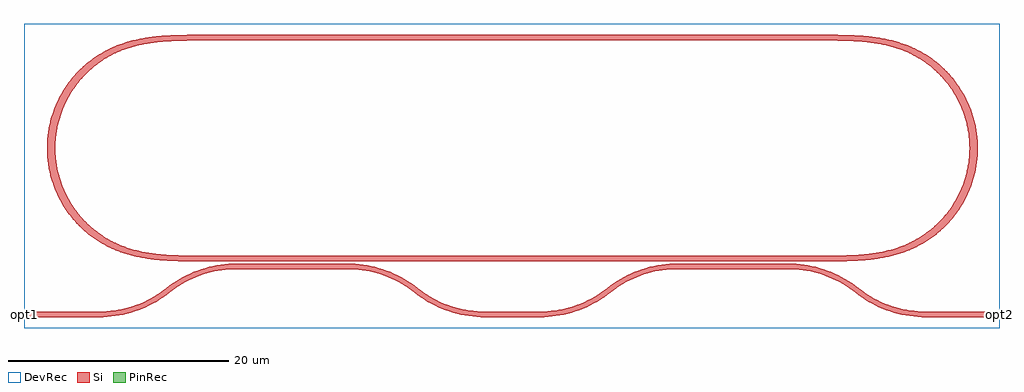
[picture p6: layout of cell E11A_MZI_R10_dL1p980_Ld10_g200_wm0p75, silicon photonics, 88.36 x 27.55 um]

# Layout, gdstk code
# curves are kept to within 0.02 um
import gdstk
lib = gdstk.Library(unit=1e-6, precision=1e-09)
def R(c, l, rs):  # rectangles x0, y0, x1, y1
    for r in rs: c.add(gdstk.rectangle(r[:2], r[2:], *l))
def P(c, l, *ps):  # polygons
    for p in ps: c.add(gdstk.Polygon(p, *l))
Si = (1, 0)
PinRec = (1, 10)
DevRec = (68, 0)

c__e11aring_r10p000_lc53p9 = lib.new_cell('_E11Aring_R10p000_Lc53p910_w0p500_wm0p750_tp30')
R(c__e11aring_r10p000_lc53p9, Si, [(-26.955,-10.25,26.955,-9.75), (-26.955,9.75,26.955,10.25)])
P(c__e11aring_r10p000_lc53p9, Si, [(-28.116,-10.25),(-31.1,-10.193),(-32.258,-10.105),(-33.245,-9.976),(-34.221,-9.783),(-35.021,-9.565),(-35.803,-9.289),(-36.561,-8.954),(-37.424,-8.475),(-38.094,-8.02),(-38.845,-7.404),(-39.534,-6.719),(-40.152,-5.969),(-40.695,-5.163),(-41.086,-4.454),(-41.477,-3.564),(-41.779,-2.641),(-41.99,-1.693),(-42.108,-0.728),(-42.132,0.243),(-42.061,1.212),(-41.896,2.17),(-41.639,3.107),(-41.292,4.014),(-40.858,4.884),(-40.342,5.707),(-39.748,6.476),(-39.082,7.184),(-38.351,7.823),(-37.561,8.388),(-36.709,8.88),(-35.803,9.29),(-34.862,9.613),(-33.734,9.888),(-32.423,10.088),(-31.1,10.193),(-29.609,10.24),(-26.955,10.25),(-26.955,9.75),(-29.474,9.741),(-31.204,9.678),(-32.769,9.515),(-34.004,9.271),(-34.761,9.054),(-35.353,8.841),(-35.931,8.591),(-36.492,8.304),(-37.532,7.636),(-38.475,6.84),(-38.905,6.398),(-39.401,5.807),(-39.848,5.179),(-40.168,4.651),(-40.518,3.964),(-40.757,3.395),(-41.003,2.664),(-41.19,1.916),(-41.294,1.308),(-41.37,0.54),(-41.385,-0.077),(-41.347,-0.847),(-41.272,-1.46),(-41.122,-2.216),(-40.959,-2.811),(-40.701,-3.538),(-40.384,-4.242),(-39.931,-5.048),(-39.495,-5.684),(-38.905,-6.398),(-38.363,-6.946),(-37.655,-7.543),(-37.024,-7.986),(-36.353,-8.379),(-35.499,-8.781),(-34.611,-9.101),(-33.544,-9.376),(-32.613,-9.537),(-31.518,-9.655),(-30.418,-9.717),(-26.955,-9.75),(-26.955,-10.25)],
  [(26.955,-10.25),(26.955,-9.75),(29.631,-9.738),(31.204,-9.678),(32.613,-9.537),(33.851,-9.307),(34.761,-9.053),(35.644,-8.72),(36.492,-8.304),(37.281,-7.815),(38.133,-7.152),(38.905,-6.398),(39.586,-5.56),(40.242,-4.515),(40.701,-3.538),(41.085,-2.366),(41.294,-1.307),(41.36,-0.694),(41.385,-0.077),(41.332,1.001),(41.157,2.066),(40.863,3.105),(40.384,4.242),(39.848,5.179),(39.495,5.685),(39.109,6.167),(38.363,6.946),(37.898,7.352),(37.407,7.726),(36.629,8.227),(35.788,8.657),(34.91,9.004),(33.851,9.308),(32.457,9.559),(31.204,9.678),(29.474,9.741),(26.955,9.75),(26.955,10.25),(30.769,10.209),(32.093,10.122),(32.917,10.026),(34.059,9.82),(35.021,9.565),(35.803,9.29),(36.709,8.88),(37.561,8.388),(38.351,7.823),(39.082,7.184),(39.748,6.476),(40.342,5.707),(40.858,4.884),(41.292,4.014),(41.639,3.107),(41.896,2.17),(42.061,1.212),(42.132,0.243),(42.108,-0.728),(41.99,-1.693),(41.779,-2.641),(41.477,-3.564),(41.086,-4.454),(40.61,-5.301),(40.152,-5.969),(39.534,-6.719),(38.965,-7.295),(38.351,-7.823),(37.561,-8.388),(36.709,-8.879),(35.956,-9.227),(35.021,-9.565),(34.221,-9.783),(33.245,-9.976),(32.423,-10.087),(31.266,-10.184),(30.272,-10.226)])

e11a_mzi_r10_dl1p980_ld1 = lib.new_cell('E11A_MZI_R10_dL1p980_Ld10_g200_wm0p75')
R(e11a_mzi_r10_dl1p980_ld1, Si, [(-1,-0.25,0,0.25), (0,-0.25,5.8,0.25), (40.71,-0.25,45.71,0.25), (80.619,-0.25,86.345,0.25), (86.345,-0.25,87.345,0.25), (18.255,4.101,28.255,4.601), (58.164,4.101,68.164,4.601)])
P(e11a_mzi_r10_dl1p980_ld1, Si, [(52.093,1.98),(51.781,2.371),(52.364,2.803),(52.976,3.191),(53.614,3.536),(54.275,3.835),(55.302,4.194),(56.005,4.371),(57.079,4.544),(58.164,4.601),(58.164,4.101),(57.131,4.047),(56.449,3.949),(55.774,3.804),(54.786,3.498),(54.148,3.236),(53.53,2.93),(52.647,2.39)],
  [(74.236,1.98),(73.682,2.39),(72.799,2.93),(72.181,3.236),(71.543,3.498),(70.555,3.804),(69.88,3.949),(69.197,4.047),(68.164,4.101),(68.164,4.601),(69.25,4.544),(70.324,4.371),(71.027,4.194),(72.054,3.835),(72.715,3.536),(73.353,3.191),(73.965,2.803),(74.548,2.371)],
  [(45.71,-0.25),(45.71,0.25),(46.399,0.274),(47.085,0.347),(47.764,0.469),(48.762,0.74),(49.409,0.979),(50.344,1.422),(51.227,1.961),(51.781,2.371),(52.093,1.98),(51.51,1.549),(50.582,0.982),(49.932,0.66),(48.919,0.265),(47.869,-0.02),(47.155,-0.148),(46.434,-0.224)],
  [(40.71,-0.25),(39.985,-0.224),(39.264,-0.148),(38.55,-0.02),(37.501,0.265),(36.487,0.66),(35.838,0.982),(35.212,1.349),(34.327,1.98),(34.638,2.371),(35.192,1.961),(36.075,1.422),(37.01,0.979),(37.657,0.74),(38.655,0.469),(39.334,0.347),(40.02,0.274),(40.71,0.25)],
  [(34.327,1.98),(33.772,2.39),(32.889,2.93),(32.271,3.236),(31.633,3.498),(30.645,3.804),(29.971,3.949),(29.288,4.047),(28.255,4.101),(28.255,4.601),(29.341,4.544),(30.059,4.441),(31.117,4.194),(32.144,3.835),(32.805,3.536),(33.443,3.191),(34.055,2.803),(34.638,2.371)],
  [(12.183,1.98),(11.872,2.371),(12.455,2.803),(13.067,3.191),(13.705,3.536),(14.366,3.835),(15.392,4.194),(16.095,4.371),(17.169,4.544),(18.255,4.601),(18.255,4.101),(17.222,4.047),(16.539,3.949),(15.865,3.804),(14.877,3.498),(14.238,3.236),(13.62,2.93),(13.025,2.58)],
  [(80.619,-0.25),(79.895,-0.224),(79.173,-0.148),(78.46,-0.02),(77.41,0.265),(76.397,0.66),(75.747,0.982),(74.819,1.549),(74.236,1.98),(74.548,2.371),(75.102,1.961),(75.985,1.422),(76.92,0.979),(77.567,0.74),(78.565,0.469),(79.244,0.347),(79.93,0.274),(80.619,0.25)],
  [(5.8,-0.25),(5.8,0.25),(6.489,0.274),(7.175,0.347),(7.854,0.469),(8.852,0.74),(9.5,0.979),(10.434,1.422),(11.317,1.961),(11.872,2.371),(12.183,1.98),(11.298,1.349),(10.672,0.982),(10.022,0.66),(9.009,0.265),(7.96,-0.02),(7.246,-0.148),(6.525,-0.224)])
R(e11a_mzi_r10_dl1p980_ld1, DevRec, [(-1,-1.25,87.345,26.301)])
e11a_mzi_r10_dl1p980_ld1.add(gdstk.FlexPath([(87.335,0),(87.355,0)], 0.5, ends="flush", simple_path=True, layer=1, datatype=10))  # PinRec
e11a_mzi_r10_dl1p980_ld1.add(gdstk.FlexPath([(-0.99,0),(-1.01,0)], 0.5, ends="flush", simple_path=True, layer=1, datatype=10))  # PinRec
e11a_mzi_r10_dl1p980_ld1.add(gdstk.Reference(c__e11aring_r10p000_lc53p9, (43.21,15.051)))
e11a_mzi_r10_dl1p980_ld1.add(gdstk.Label('opt2', (87.345,0), layer=1, texttype=10))
e11a_mzi_r10_dl1p980_ld1.add(gdstk.Label('opt1', (-1,0), layer=1, texttype=10))

lib.write_gds('E11A_MZI_R10_dL1p980_Ld10_g200_wm0p75.gds')
